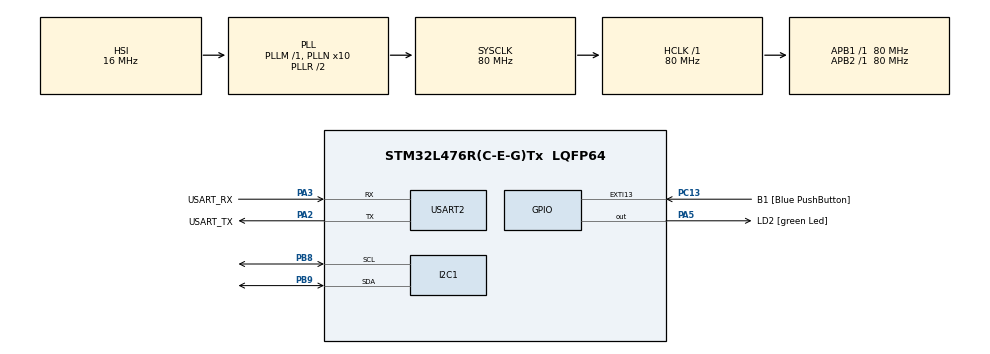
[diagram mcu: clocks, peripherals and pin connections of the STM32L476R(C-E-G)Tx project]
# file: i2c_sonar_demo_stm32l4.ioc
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I2C1.Timing=0x10909CEC
Mcu.Family=STM32L4
Mcu.Name=STM32L476R(C-E-G)Tx
Mcu.Package=LQFP64
NVIC.PriorityGroup=NVIC_PRIORITYGROUP_4
PA13\ (JTMS-SWDIO).GPIO_Label=TMS
PA13\ (JTMS-SWDIO).Mode=Serial_Wire
PA13\ (JTMS-SWDIO).Signal=SYS_JTMS-SWDIO
PA14\ (JTCK-SWCLK).GPIO_Label=TCK
PA14\ (JTCK-SWCLK).Mode=Serial_Wire
PA14\ (JTCK-SWCLK).Signal=SYS_JTCK-SWCLK
PA2.GPIO_Label=USART_TX
PA2.GPIO_Mode=GPIO_MODE_AF_PP
PA2.GPIO_PuPd=GPIO_NOPULL
PA2.GPIO_Speed=GPIO_SPEED_FREQ_VERY_HIGH
PA2.Mode=Asynchronous
PA2.Signal=USART2_TX
PA3.GPIO_Label=USART_RX
PA3.GPIO_Mode=GPIO_MODE_AF_PP
PA3.GPIO_PuPd=GPIO_NOPULL
PA3.GPIO_Speed=GPIO_SPEED_FREQ_VERY_HIGH
PA3.Mode=Asynchronous
PA3.Signal=USART2_RX
PA5.GPIO_Label=LD2 [green Led]
PA5.GPIO_ModeDefaultOutputPP=GPIO_MODE_OUTPUT_PP
PA5.GPIO_PuPd=GPIO_NOPULL
PA5.GPIO_Speed=GPIO_SPEED_FREQ_LOW
PA5.Signal=GPIO_Output
PB3\ (JTDO-TRACESWO).GPIO_Label=SWO
PB3\ (JTDO-TRACESWO).Signal=SYS_JTDO-SWO
PB8.Mode=I2C
PB8.Signal=I2C1_SCL
PB9.Mode=I2C
PB9.Signal=I2C1_SDA
PC13.GPIO_Label=B1 [Blue PushButton]
PC13.GPIO_ModeDefaultEXTI=GPIO_MODE_IT_FALLING
PC13.GPIO_PuPd=GPIO_NOPULL
PC13.Signal=GPXTI13
PC14-OSC32_IN\ (PC14).Mode=LSE-External-Oscillator
PC14-OSC32_IN\ (PC14).Signal=RCC_OSC32_IN
PC15-OSC32_OUT\ (PC15).Mode=LSE-External-Oscillator
PC15-OSC32_OUT\ (PC15).Signal=RCC_OSC32_OUT
PH0-OSC_IN\ (PH0).Signal=RCC_OSC_IN
PH1-OSC_OUT\ (PH1).Signal=RCC_OSC_OUT
ProjectManager.HeapSize=0x200
ProjectManager.StackSize=0x400
ProjectManager.TargetToolchain=STM32CubeIDE
RCC.ADCFreq_Value=64000000
RCC.AHBFreq_Value=80000000
RCC.APB1Freq_Value=80000000
RCC.APB1TimFreq_Value=80000000
RCC.APB2Freq_Value=80000000
RCC.APB2TimFreq_Value=80000000
RCC.CortexFreq_Value=80000000
RCC.HCLKFreq_Value=80000000
RCC.HSE_VALUE=8000000
RCC.HSI_VALUE=16000000
RCC.MSI_VALUE=4000000
RCC.PLLN=10
RCC.PLLSourceVirtual=RCC_PLLSOURCE_HSI
RCC.PREFETCH_ENABLE=1
RCC.SYSCLKFreq_VALUE=80000000
RCC.SYSCLKSource=RCC_SYSCLKSOURCE_PLLCLK
RCC.USBFreq_Value=64000000
RCC.VCOOutputFreq_Value=160000000
USART2.VirtualMode-Asynchronous=VM_ASYNC
board=NUCLEO-L476RG

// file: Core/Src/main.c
/* USER CODE BEGIN Header */
/**
  ******************************************************************************
  * @file           : main.c
  * @brief          : Main program body
  ******************************************************************************
  * @attention
  *
  * Copyright (c) 2022 STMicroelectronics.
  * All rights reserved.
  *
  * This software is licensed under terms that can be found in the LICENSE file
  * in the root directory of this software component.
  * If no LICENSE file comes with this software, it is provided AS-IS.
  *
  ******************************************************************************
  */
/* USER CODE END Header */
#include "main.h"
#include "i2c.h"
#include "usart.h"
#include "gpio.h"

/* USER CODE BEGIN Includes */
#include <string.h>
#include <stdio.h>
/* USER CODE END Includes */

/* USER CODE BEGIN PV */
static const uint8_t SRF10_ADDR = 0xE0;
static const uint8_t SRF10_ADDR_2 = 0xE6;

static const uint8_t FIRMWARE_REV_REG = 0x00;
static const uint8_t COMMAND_REG = 0x00;
static const uint8_t GAIN_REG = 0x01;
static const uint8_t RANGE_REG = 0x02;
static const uint8_t RANGE_HIGH_REG = 0x02;
static const uint8_t RANGE_LOW_REG = 0x03;

static const uint8_t RANGE_MODE_INCH = 0x50;			// range reading in [in]
static const uint8_t RANGE_MODE_CENTIMETER = 0x51;		// range reading in [cm]
static const uint8_t RANGE_MODE_MICROSECONDS = 0x52;	// range reading in [microsec]

static const uint32_t I2C_TIMEOUT = 5000;	// [milliseconds]

uint8_t i2c_data_buf[5];
HAL_StatusTypeDef ret;

uint8_t t_gain = 0x02;	// Max gain
double t_range = 2.0;	// Max range

uint8_t high_byte;
uint8_t low_byte;
uint16_t distance_value;

/* USER CODE END PV */

void SystemClock_Config(void);
/* USER CODE BEGIN PFP */
int _write(int fd, char* ptr, int len)
{
	HAL_UART_Transmit(&huart2, (uint8_t*)ptr, len, HAL_MAX_DELAY);
	return len;
}
void Read_SRF10_Firmware_Revision(uint8_t device_address);
void Initialize_SRF10(uint8_t device_address, uint8_t max_gain, double max_range);
HAL_StatusTypeDef SRF10_Set_Gain(uint8_t max_gain);
HAL_StatusTypeDef SRF10_Set_Range(double max_range);
HAL_StatusTypeDef SRF10_ReadRegister(uint8_t device_address, uint8_t register_address, uint8_t* data_buffer_ptr);
HAL_StatusTypeDef SRF10_WriteRegister(uint8_t device_address, uint8_t register_address, uint8_t value);

/* USER CODE END PFP */

int main(void)
{

  /* MCU Configuration--------------------------------------------------------*/

  /* Reset of all peripherals, Initializes the Flash interface and the Systick. */
  HAL_Init();

  /* Configure the system clock */
  SystemClock_Config();

  /* Initialize all configured peripherals */
  MX_GPIO_Init();
  MX_USART2_UART_Init();
  MX_I2C1_Init();

  /* Infinite loop */
  /* USER CODE BEGIN WHILE */

  if (HAL_I2C_IsDeviceReady(&hi2c1, SRF10_ADDR, 10, 5000) == HAL_OK)
  {
	  printf("%X Device is ready!\r\n", SRF10_ADDR);
	  Read_SRF10_Firmware_Revision(SRF10_ADDR);
	  Initialize_SRF10(SRF10_ADDR, t_gain, t_range);
  }
  else
  {
	  Error_Handler();
  }

  // Example of addressing another device on I2C bus
  if (HAL_I2C_IsDeviceReady(&hi2c1, SRF10_ADDR_2, 10, 5000) == HAL_OK)
    {
  	  printf("%X Device is ready!\r\n", SRF10_ADDR_2);
  	  Read_SRF10_Firmware_Revision(SRF10_ADDR_2);
  	  Initialize_SRF10(SRF10_ADDR_2, t_gain, t_range);
    }
  else
  {
	  Error_Handler();
  }

  while (1)
  {
    /* USER CODE END WHILE */

    /* USER CODE BEGIN 3 */

	  // Setting up to get data in microseconds
	  if (SRF10_WriteRegister(SRF10_ADDR, COMMAND_REG, RANGE_MODE_CENTIMETER) != HAL_OK)
	  {
		  printf("Retrieving data ERROR\r\n");
		  Error_Handler();
	  }

	  // --- Reading sensor data ---
	  // Adding delay until register is finished reading
	  uint8_t command_register_value = 0xFF;
	  while (command_register_value == 0xFF)
	  {
		  SRF10_ReadRegister(SRF10_ADDR, COMMAND_REG, &command_register_value);
	  }

	  // Reading from high and low byte registers
	  if (SRF10_ReadRegister(SRF10_ADDR, RANGE_HIGH_REG, &high_byte) != HAL_OK)
	  {
		  printf("High byte ERROR\r\n");
		  Error_Handler();
	  }
	  if (SRF10_ReadRegister(SRF10_ADDR, RANGE_LOW_REG, &low_byte) != HAL_OK)
	  {
		  printf("Low byte ERROR\r\n");
		  Error_Handler();
	  }

	  distance_value = (((uint16_t)high_byte) << 8) + low_byte;
	  printf("Range: %hu cm\r\n", distance_value);
  }
  /* USER CODE END 3 */
}

void SystemClock_Config(void)
{
  RCC_OscInitTypeDef RCC_OscInitStruct = {0};
  RCC_ClkInitTypeDef RCC_ClkInitStruct = {0};

  /** Configure the main internal regulator output voltage
  */
  if (HAL_PWREx_ControlVoltageScaling(PWR_REGULATOR_VOLTAGE_SCALE1) != HAL_OK)
  {
    Error_Handler();
  }
  /** Initializes the RCC Oscillators according to the specified parameters
  * in the RCC_OscInitTypeDef structure.
  */
  RCC_OscInitStruct.OscillatorType = RCC_OSCILLATORTYPE_HSI;
  RCC_OscInitStruct.HSIState = RCC_HSI_ON;
  RCC_OscInitStruct.HSICalibrationValue = RCC_HSICALIBRATION_DEFAULT;
  RCC_OscInitStruct.PLL.PLLState = RCC_PLL_ON;
  RCC_OscInitStruct.PLL.PLLSource = RCC_PLLSOURCE_HSI;
  RCC_OscInitStruct.PLL.PLLM = 1;
  RCC_OscInitStruct.PLL.PLLN = 10;
  RCC_OscInitStruct.PLL.PLLP = RCC_PLLP_DIV7;
  RCC_OscInitStruct.PLL.PLLQ = RCC_PLLQ_DIV2;
  RCC_OscInitStruct.PLL.PLLR = RCC_PLLR_DIV2;
  if (HAL_RCC_OscConfig(&RCC_OscInitStruct) != HAL_OK)
  {
    Error_Handler();
  }
  /** Initializes the CPU, AHB and APB buses clocks
  */
  RCC_ClkInitStruct.ClockType = RCC_CLOCKTYPE_HCLK|RCC_CLOCKTYPE_SYSCLK
                              |RCC_CLOCKTYPE_PCLK1|RCC_CLOCKTYPE_PCLK2;
  RCC_ClkInitStruct.SYSCLKSource = RCC_SYSCLKSOURCE_PLLCLK;
  RCC_ClkInitStruct.AHBCLKDivider = RCC_SYSCLK_DIV1;
  RCC_ClkInitStruct.APB1CLKDivider = RCC_HCLK_DIV1;
  RCC_ClkInitStruct.APB2CLKDivider = RCC_HCLK_DIV1;

  if (HAL_RCC_ClockConfig(&RCC_ClkInitStruct, FLASH_LATENCY_4) != HAL_OK)
  {
    Error_Handler();
  }
}

/* USER CODE BEGIN 4 */

// Reads firmware register
void Read_SRF10_Firmware_Revision(uint8_t device_address)
{
	uint8_t buf[5];

	// Telling to read from firmware revision register
	SRF10_ReadRegister(device_address, FIRMWARE_REV_REG, buf);

	printf("%X sonar firmware revision: %d\r\n", device_address, buf[0]);
}

/*
 * Initializes sonar sensor at device address by initializing the
 * gains and maximum range.
 *
 */
void Initialize_SRF10(uint8_t device_address, uint8_t max_gain, double max_range)
{
	if (SRF10_Set_Gain(max_gain) != HAL_OK)
	{
		printf("Setting gain ERROR\r\n");
		Error_Handler();
	}
	if (SRF10_Set_Range(max_range) != HAL_OK)
	{
		printf("Setting range ERROR\r\n");
		Error_Handler();
	}
	printf("%X sonar initialized\r\n", device_address);
}

/*
 * Sets the gain of the SRF10 sonar sensor.
 *
 */
HAL_StatusTypeDef SRF10_Set_Gain(uint8_t max_gain)
{
	if (SRF10_WriteRegister(SRF10_ADDR, GAIN_REG, max_gain) != HAL_OK)
	{
		return HAL_ERROR;
	}
	return HAL_OK;
}

/*
 * Sets the range of the SRF10 sonar sensor.
 *
 */
HAL_StatusTypeDef SRF10_Set_Range(double max_range)
{
	// Range limits
	if (max_range > 6.0 || max_range < 0.0)
	{
		max_range = 6.0;
	}

	uint8_t range_command = (uint8_t)((max_range - 0.043)*23.26);
	if (SRF10_WriteRegister(SRF10_ADDR, RANGE_REG, range_command) != HAL_OK)
	{
		return HAL_ERROR;
	}

	return HAL_OK;
}

/*
 * Reads from the register of SRF10 using I2C
 *
 */
HAL_StatusTypeDef SRF10_ReadRegister(uint8_t device_address, uint8_t register_address, uint8_t* data_buffer_ptr)
{
	if (HAL_I2C_Master_Transmit(&hi2c1, (uint16_t)device_address, &register_address, 1, I2C_TIMEOUT) != HAL_OK)
	{
		return HAL_ERROR;
	}

	if (HAL_I2C_Master_Receive(&hi2c1, (uint16_t)device_address, data_buffer_ptr, 1, I2C_TIMEOUT) != HAL_OK)
	{
		return HAL_ERROR;
	}

	return HAL_OK;
}

/*
 * Writes to the register of SRF10 using I2C
 *
 */
HAL_StatusTypeDef SRF10_WriteRegister(uint8_t device_address, uint8_t register_address, uint8_t value)
{
	uint8_t command_buffer[2];
	command_buffer[0] = register_address;
	command_buffer[1] = value;

	if (HAL_I2C_Master_Transmit(&hi2c1, (uint16_t)device_address, command_buffer, 2, I2C_TIMEOUT) != HAL_OK)
	{
		return HAL_ERROR;
	}

	return HAL_OK;
}

/* USER CODE END 4 */

void Error_Handler(void)
{
  /* USER CODE BEGIN Error_Handler_Debug */
  /* User can add his own implementation to report the HAL error return state */
  __disable_irq();
  while (1)
  {
//	  printf("ERROR!!!\r\n");
	  HAL_GPIO_WritePin(LD2_GPIO_Port, LD2_Pin, GPIO_PIN_SET);
  }
  /* USER CODE END Error_Handler_Debug */
}
